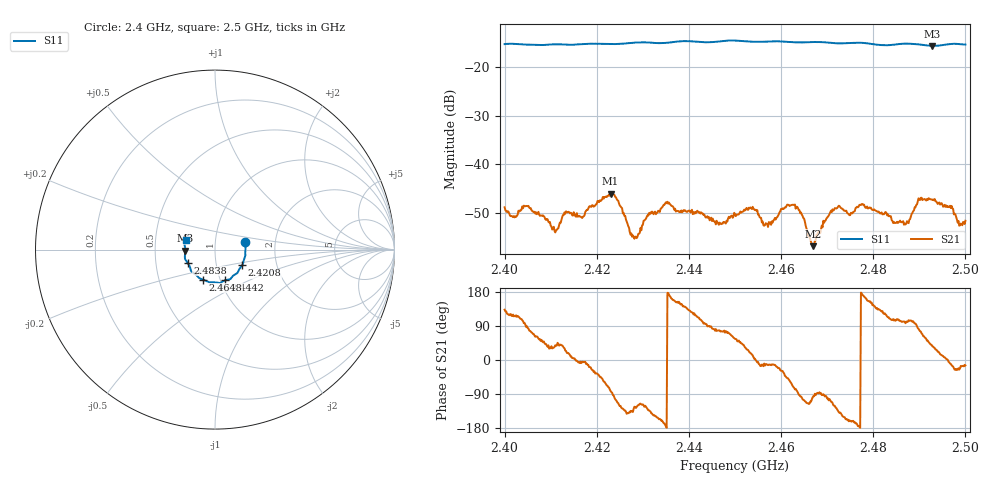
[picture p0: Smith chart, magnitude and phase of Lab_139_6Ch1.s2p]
# Hz S RI R 50
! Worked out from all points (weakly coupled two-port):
!   601 points, 2.4 GHz to 2.5 GHz, reference 50 ohm
!   highest |S21| = -45.97 dB at 2.423 GHz (marker M1); lowest = -56.8 dB at 2.467 GHz (marker M2)
!   lowest |S11| = -15.6 dB at 2.4928 GHz (marker M3), VSWR 1.40, Z = 35.8 - j0.37 ohm
!   |S11| at or under -10 dB: start of sweep to end of sweep
!   S12 and S22 are empty: the file has one direction only
!   S11 on the Smith chart (normalised r, x): 2.4 GHz: 1.40, +0.12; 2.4208 GHz: 1.33, -0.24; 2.4442 GHz: 1.05, -0.37; 2.4648 GHz: 0.83, -0.29; 2.4838 GHz: 0.73, -0.11; 2.5 GHz: 0.72, +0.08
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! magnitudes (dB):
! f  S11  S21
! 2.4 GHz  -15.3  -48.8
! 2.4052 GHz  -15.4  -48.5
! 2.4108 GHz  -15.3  -53.6
! 2.4167 GHz  -15.2  -50.9
! 2.4208 GHz  -15.2  -47.5
! 2.423 GHz  -15.2  -46.0
! 2.4282 GHz  -15.0  -55.3
! 2.4333 GHz  -15.0  -49.5
! 2.4442 GHz  -14.9  -51.0
! 2.45 GHz  -14.5  -50.2
! 2.4538 GHz  -14.8  -48.7
! 2.4567 GHz  -14.7  -52.1
! 2.4625 GHz  -14.8  -48.3
! 2.4648 GHz  -14.9  -51.0
! 2.4667 GHz  -14.8  -56.4
! 2.467 GHz  -14.8  -56.8
! 2.4722 GHz  -15.1  -49.0
! 2.4833 GHz  -15.5  -50.6
! 2.4838 GHz  -15.4  -50.7
! 2.4872 GHz  -15.2  -52.2
! 2.4928 GHz  -15.6  -47.3
! 2.5 GHz  -15.4  -51.6
